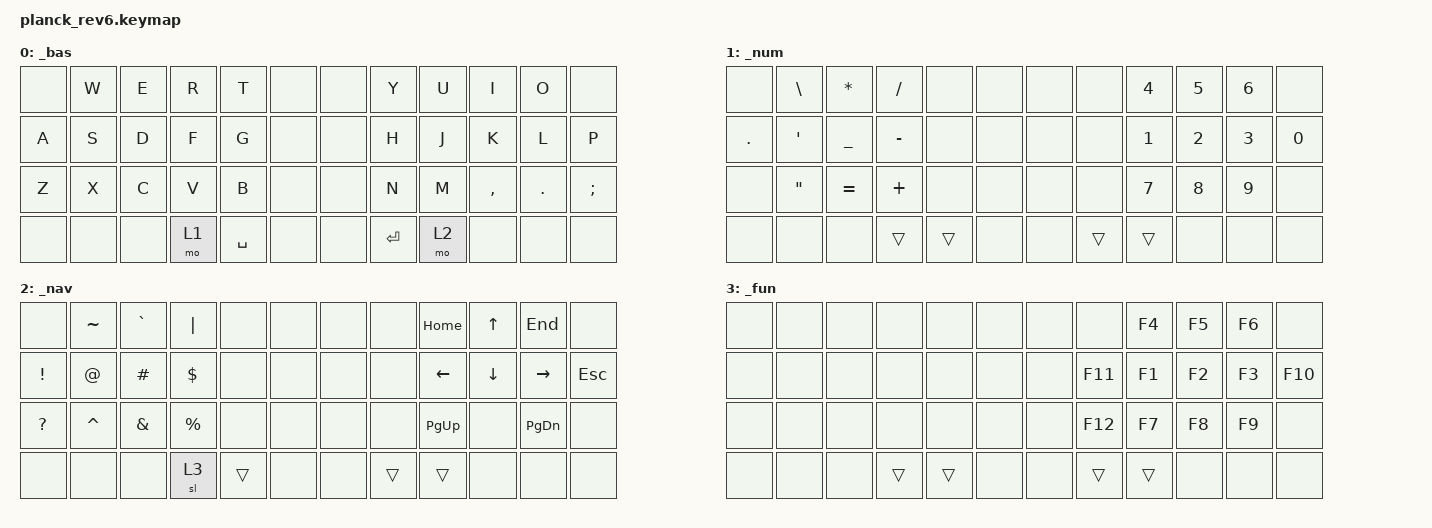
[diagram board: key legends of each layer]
#include <behaviors.dtsi>
#include <dt-bindings/zmk/keys.h>

/ {
    combos {
        compatible = "zmk,combos";

        cb_tab {
            bindings = <&kp TAB>;
            layers = <0 1>;
            key-positions = <1 2>;
        };

        cb_del {
            bindings = <&kp DEL>;
            layers = <0 1>;
            key-positions = <40 43>;
        };

        cb_cntl {
            bindings = <&sk LCTRL>;
            layers = <0 1 2>;
            key-positions = <25 26>;
        };

        cb_gui {
            bindings = <&sk LGUI>;
            layers = <0 1 2>;
            key-positions = <39 40>;
        };

        cb_alt {
            bindings = <&sk RALT>;
            layers = <0 1 2>;
            key-positions = <43 44>;
        };

        cb_bkspc {
            bindings = <&kp BSPC>;
            layers = <0 1 2>;
            key-positions = <10 9>;
        };

        cb_lbkt {
            bindings = <&kp LBKT>;
            layers = <0 1>;
            key-positions = <1 13>;
        };

        cb_lpara {
            bindings = <&kp LPAR>;
            layers = <0 1>;
            key-positions = <2 14>;
        };

        cb_lbrc {
            bindings = <&kp LBRC>;
            layers = <0 1>;
            key-positions = <3 15>;
        };

        cb_rbkt {
            bindings = <&kp RBRC>;
            layers = <0 1>;
            key-positions = <8 20>;
        };

        cb_rpara {
            bindings = <&kp RPAR>;
            layers = <0 1>;
            key-positions = <9 21>;
        };

        cb_rbrc {
            bindings = <&kp RBKT>;
            layers = <0 1>;
            key-positions = <10 22>;
        };

        cb_q {
            bindings = <&kp Q>;
            layers = <0>;
            key-positions = <12 1>;
        };

        cb_shftr {
            bindings = <&sk RSHIFT>;
            layers = <0 1>;
            key-positions = <34 33>;
        };

        toggle_game_layer {
            bindings = <&tog 3>;
            key-positions = <13 22>;
        };
    };

    /* Keymap */

    keymap {
        compatible = "zmk,keymap";

        _bas {
            bindings = <
&none  &kp W  &kp E  &kp R  &kp T      &none  &none  &kp Y      &kp U  &kp I      &kp O    &none
&kp A  &kp S  &kp D  &kp F  &kp G      &none  &none  &kp H      &kp J  &kp K      &kp L    &kp P
&kp Z  &kp X  &kp C  &kp V  &kp B      &none  &none  &kp N      &kp M  &kp COMMA  &kp DOT  &kp SEMI
&none  &none  &none  &mo 1  &kp SPACE  &none  &none  &kp ENTER  &mo 2  &none      &none    &none
            >;
        };

        _num {
            bindings = <
&none    &kp BSLH  &kp STAR   &kp FSLH   &none   &none  &none  &none   &kp N4  &kp N5  &kp N6  &none
&kp DOT  &kp SQT   &kp UNDER  &kp MINUS  &none   &none  &none  &none   &kp N1  &kp N2  &kp N3  &kp N0
&none    &kp DQT   &kp EQUAL  &kp PLUS   &none   &none  &none  &none   &kp N7  &kp N8  &kp N9  &none
&none    &none     &none      &trans     &trans  &none  &none  &trans  &trans  &none   &none   &none
            >;
        };

        _nav {
            bindings = <
&none      &kp TILDE  &kp GRAVE  &kp PIPE   &none   &none  &none  &none   &kp HOME   &kp UP    &kp END    &none
&kp EXCL   &kp AT     &kp POUND  &kp DLLR   &none   &none  &none  &none   &kp LEFT   &kp DOWN  &kp RIGHT  &kp ESC
&kp QMARK  &kp CARET  &kp AMPS   &kp PRCNT  &none   &none  &none  &none   &kp PG_UP  &none     &kp PG_DN  &none
&none      &none      &none      &sl 3      &trans  &none  &none  &trans  &trans     &none     &none      &none
            >;
        };

        _fun {
            bindings = <
&none  &none  &none  &none   &none   &none  &none  &none    &kp F4  &kp F5  &kp F6  &none
&none  &none  &none  &none   &none   &none  &none  &kp F11  &kp F1  &kp F2  &kp F3  &kp F10
&none  &none  &none  &none   &none   &none  &none  &kp F12  &kp F7  &kp F8  &kp F9  &none
&none  &none  &none  &trans  &trans  &none  &none  &trans   &trans  &none   &none   &none
            >;
        };
    };
};
